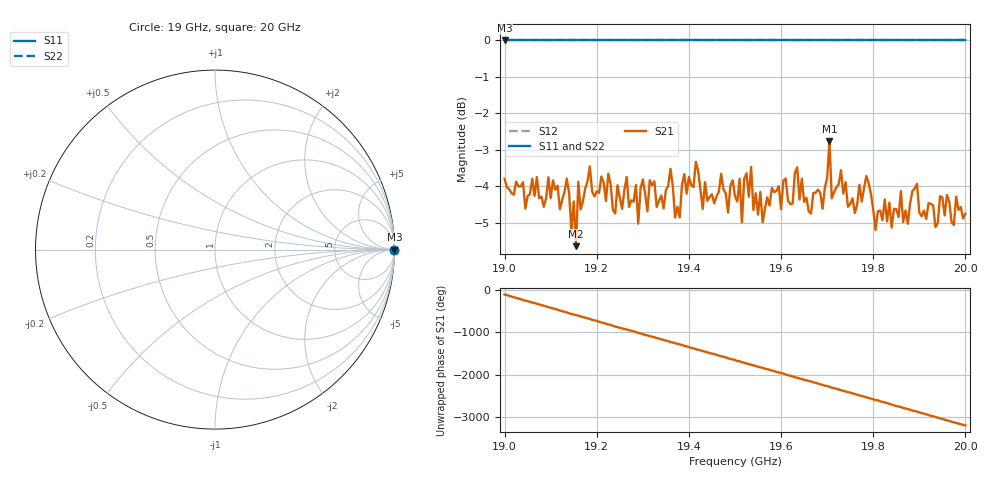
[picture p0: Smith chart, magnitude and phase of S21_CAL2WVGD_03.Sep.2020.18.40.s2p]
!Agilent N9918A: A.07.57
!Date: Thursday, 03 September 2020 18:40:20
!Timezone: (GMT-08:00) Pacific Time (US & Canada)
!Model: N9918A
!Serial: MY53103598
!GPS Latitude:
!GPS Longitude:
!GPS TimeStamp: 0001-01-01 00:00:00Z
!GPS Seconds Since Last Read: 0
!CHECKSUM:0378942983
!Correction: S11()S21(Rdy)S12()S22()
!S2P File: Measurements:S11,S21,S12,S22:
# Hz S DB R 50
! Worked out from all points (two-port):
!   201 points, 19 GHz to 20 GHz, reference 50 ohm
!   highest |S21| = -2.76 dB at 19.705 GHz (marker M1); lowest = -5.6 dB at 19.155 GHz (marker M2)
!   |S21| within 3 dB of the highest: start of sweep to end of sweep
!   lowest |S11| = 0.0 dB at 19 GHz (marker M3)
!   |S11| at or under -10 dB: nowhere
!   |S22| runs from 0.0 to 0.0 dB; largest |S21 - S12| = 1.6
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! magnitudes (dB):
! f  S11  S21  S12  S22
! 19 GHz  0.0  -3.8  0.0  0.0
! 19.135 GHz  0.0  -3.8  0.0  0.0
! 19.155 GHz  0.0  -5.6  0.0  0.0
! 19.16 GHz  0.0  -3.9  0.0  0.0
! 19.17 GHz  0.0  -4.4  0.0  0.0
! 19.185 GHz  0.0  -3.5  0.0  0.0
! 19.24 GHz  0.0  -4.8  0.0  0.0
! 19.265 GHz  0.0  -3.8  0.0  0.0
! 19.29 GHz  0.0  -5.0  0.0  0.0
! 19.3 GHz  0.0  -3.8  0.0  0.0
! 19.335 GHz  0.0  -4.4  0.0  0.0
! 19.36 GHz  0.0  -3.5  0.0  0.0
! 19.38 GHz  0.0  -4.9  0.0  0.0
! 19.415 GHz  0.0  -3.3  0.0  0.0
! 19.43 GHz  0.0  -4.6  0.0  0.0
! 19.5 GHz  0.0  -4.3  0.0  0.0
! 19.67 GHz  0.0  -4.2  0.0  0.0
! 19.69 GHz  0.0  -4.6  0.0  0.0
! 19.705 GHz  0.0  -2.8  0.0  0.0
! 19.71 GHz  0.0  -4.3  0.0  0.0
! 19.835 GHz  0.0  -4.5  0.0  0.0
! 20 GHz  0.0  -4.8  0.0  0.0
